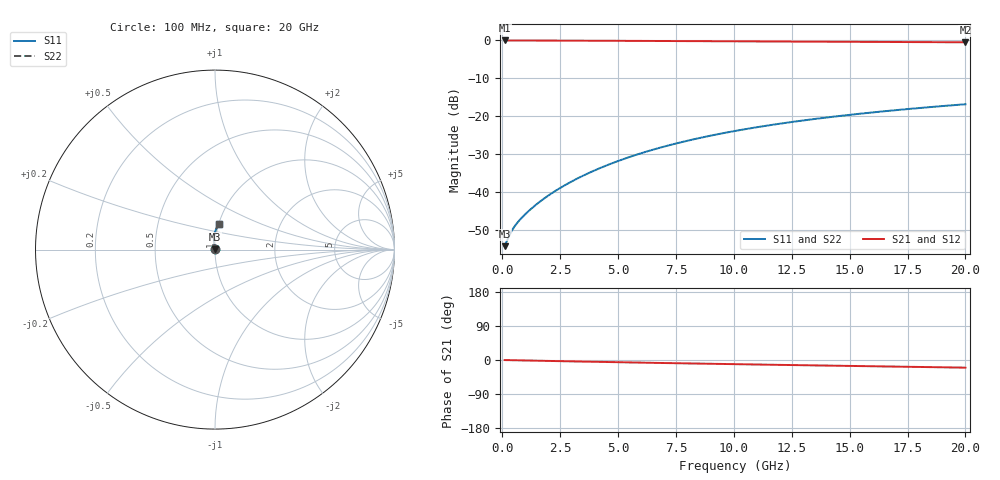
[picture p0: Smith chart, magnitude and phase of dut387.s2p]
! Touchstone file exported from HFSS 2024.1.0
!  File:  C:/UserFiles/LocalFiles/RDL_TSV_Batchsim/temp_RDL_top_387_1779609659.aedt
!  Generated:  04:03:31 PM May 24, 2026
!  Design:  RDL_top
!  Project:  temp_RDL_top_387_1779609659
!  Setup:  Setup1
!  Solution:  Sweep
! Variables:
!  dtsv = 10.80580581um
!  hbump = 3um
!  htsv = 61.69um
!  ldown = 100um
!  lrdl = 319.92um
!  p = 40
!  p1 = 41.14um
!  rhole = 1um
!  t = 450um
!  tdown = 3.915915916um
!  trdl = 2.63um
!  wdown = 15.38538539um
!  wrdl = 28.87um
# GHz S MA R 50.000000
! Terminal data exported
! Port[1] = Box2_T1
! Port[2] = Box2_T2
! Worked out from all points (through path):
!   200 points, 100 MHz to 20 GHz, reference 50 ohm
!   highest |S21| = -0.02 dB at 100 MHz (marker M1); lowest = -0.5 dB at 20 GHz (marker M2)
!   group delay of S21, straight-line fit = 2.75 ps
!   lowest |S11| = -54.2 dB at 100 MHz (marker M3), VSWR 1.00, Z = 50.2 + j0.0628 ohm
!   |S11| at or under -10 dB: start of sweep to end of sweep
!   |S22| runs from -54.2 to -16.8 dB; largest |S21 - S12| = 4.5e-15
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0.1  0.00195 18.7  0.9981 -0.1  0.9981 -0.1  0.00195 18.7
! Gamma 0 0 0 0
! Port Impedance 50 0 50 0
0.3  0.00269 39.6  0.9979 -0.4  0.9979 -0.4  0.00269 39.6
0.4  0.00308 44.9  0.9977 -0.5  0.9977 -0.5  0.00308 44.9
0.5  0.003448 49.0  0.9975 -0.6  0.9975 -0.6  0.003448 49.0
0.6  0.003798 52.5  0.9974 -0.8  0.9974 -0.8  0.003798 52.5
0.8  0.004479 58.4  0.9971 -1.0  0.9971 -1.0  0.004479 58.4
1.2  0.005886 67.9  0.9966 -1.5  0.9966 -1.5  0.005886 67.9
1.7  0.007831 76.5  0.9959 -2.1  0.9959 -2.1  0.007832 76.5
2.2  0.009995 82.6  0.995 -2.7  0.995 -2.7  0.009996 82.6
2.8  0.01287 87.8  0.9936 -3.4  0.9936 -3.4  0.01287 87.8
3.5  0.01659 91.9  0.9918 -4.2  0.9918 -4.2  0.0166 91.9
4.2  0.02069 94.6  0.9898 -5.0  0.9898 -5.0  0.0207 94.6
5  0.02579 96.5  0.9872 -5.9  0.9872 -5.9  0.0258 96.4
5.9  0.03198 97.5  0.9842 -6.9  0.9842 -6.9  0.03198 97.5
6.8  0.03855 97.7  0.9811 -7.8  0.9811 -7.8  0.03855 97.7
8.4  0.0509 96.9  0.9756 -9.4  0.9756 -9.4  0.0509 96.9
10.1  0.06457 95.1  0.9701 -11.1  0.9701 -11.1  0.06457 95.1
11.7  0.07766 93.1  0.9652 -12.6  0.9652 -12.6  0.07766 93.1
13.4  0.09159 90.8  0.9604 -14.2  0.9604 -14.2  0.09159 90.8
15  0.1046 88.6  0.9561 -15.7  0.9561 -15.7  0.1046 88.6
16.7  0.1183 86.3  0.9518 -17.2  0.9518 -17.2  0.1183 86.2
20  0.1442 81.9  0.9439 -20.2  0.9439 -20.2  0.1442 81.9
